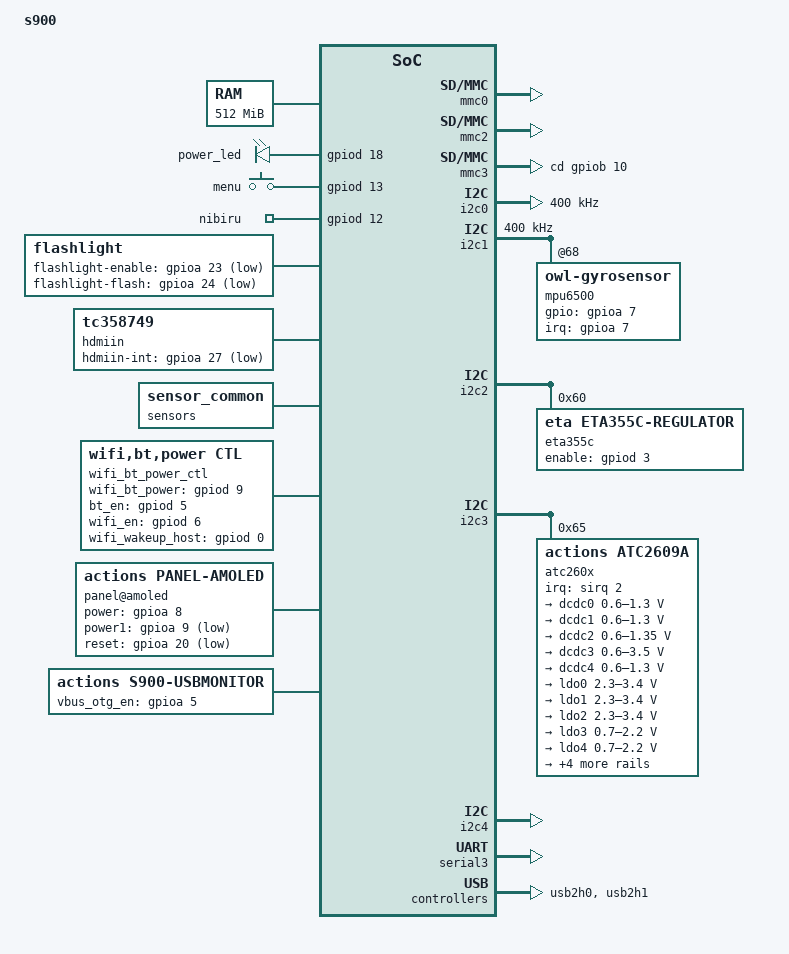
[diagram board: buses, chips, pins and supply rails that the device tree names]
/*
 * Copyright (C) 2014 Actions Semi. Inc
 *
 * This program is free software; you can redistribute it and/or
 * modify it under the terms of the GNU General Public License as
 * published by the Free Software Foundation version 2.
 *
 * This program is distributed "as is" WITHOUT ANY WARRANTY of any
 * kind, whether express or implied; without even the implied warranty
 * of MERCHANTABILITY or FITNESS FOR A PARTICULAR PURPOSE.  See the
 * GNU General Public License for more details.
 */

/dts-v1/;

/* reserve 48MB for logo(fb) */
/memreserve/ 0x19000000 0x03000000;

/* reserve 512MB for ion1(pmem) */
/memreserve/ 0x20000000 0x20000000;

/* reserve 4k for afinfo */
/memreserve/ 0x18FFF000 0x1000;

#include "s900.dtsi"

/ {
	model = "s900";
	compatible = "actions,s900", "actions,s900-evb";

	chosen {
		bootargs="fb_logo_reserve=0x19000000,0x03000000 console=ttyS5,115200 earlyprintk=serial-owl,0xe012a000 no_console_suspend loglevel=4";
	};

	memory@00000000 {
		device_type = "memory";
		reg = <0 0x00000000 0 0x20000000>;
	};

	ion_config {
		compatible = "actions,s900-ion";
		actions,ion_heap_pmem_base = <0x0 0x20000000>;
		actions,ion_heap_pmem_size = <0x0 0x20000000>;
	};

	gpiod: gpiod@e01b0000 {
		pinctrl-names = "default";
		pinctrl-0 = <&pinctrl_gpio_lvds_o>, <&pinctrl_gpio_lvds_e>;
	};

	pinctrl@e01b0000 {
		pinctrl_i2c4: i2c4 {
			i2c4_mfp {
				actions,groups = "mfp3_8";
				actions,function = "i2c4";
			};

			i2c4_pull {
				actions,pins = "P_UART4_RX", "P_UART4_TX";
				actions,pull = <2>;
			};

			i2c4_paddrv {
				actions,groups = "paddrv1_9_8";
				actions,paddrv = <3>;/*level 0~3*/
			};
		};
		
		pinctrl_i2c0_default: i2c0 {
			i2c0_mfp {
				actions,groups = "mfp3_18_16";
				actions,function = "i2c0";
			};

			i2c0_pull {
				actions,pins = "P_I2C0_SCLK", "P_I2C0_SDATA";
				actions,pull = <2>; /*PULL UP*/
			};
			
			i2c0_paddrv {
				actions,groups = "paddrv2_31_30";
				actions,paddrv = <3>;/*level 0~3*/
			};
		};
		pinctrl_i2c1_default: i2c1 {
			i2c1_paddrv {
				actions,groups = "paddrv2_29_28";
				actions,paddrv = <3>;/*level 0~3*/
			};
		};

	};


	mmc0: mmc@e0338000 {
		card-type = "emmc";
		status = "okay";
	};

	mmc1: mmc@e033c000 {
		card-type = "emmc";
		status = "disabled";
	};

	mmc2: mmc@e0334000 {
		card-type = "wifi";
		wifi-card-voltage = "1.8v";  /* only: "1.8v", "3.1v" */
		status = "okay";
	};

	mmc3: mmc@e0330000 {
		card-type = "memory";  /* only: "memory", "wifi", or "emmc" */
		card-detect-mode = "gpio";  /* only: "sirq", "gpio", or "command" */
		cd-gpios = <&gpiob 10 0>; /*GPIOBE14 */
		sd_vcc = "ldo0";
		status = "okay";
	};

	
	i2c0: i2c@e0170000  {
	  clock-frequency = <400000>;
		status = "okay";

	};


	i2c1: i2c@e0172000 {
		clock-frequency = <400000>;
		status = "okay";
		mpu6500@68 {
		compatible = "owl-gyrosensor";
		interrupt-parent = <&gpioa>;
		interrupts = <7>;
		gpios = <&gpioa 7 0>; /* GPIOA7 */
		i2c_adapter_id = <1>;
		/*gyro_vcc = "ldo7";*/
		/*vol_range = <1800000 1810000>;*/
		MASTER_inv6500_position = "-2";
		SECONDARY_ak8963c_position = "-2";
		};
	};

  i2c2: i2c@e0174000 {
		status = "okay";

		eta355c: eta355c-regulator {
			compatible = "eta,eta355c-regulator";
			reg = <0x60>;

			regulator-name = "eta355c";
			regulator-type = "voltage";
			regulator-min-microvolt = <700000>;
			regulator-max-microvolt = <1050000>;
			startup-delay-us = <1000>;	/* us */
			regulator-ramp-delay = <250>;	/* uV/us */
			enable-gpio = <&gpiod 3 0x4>;	/* GPIOD3 */
			enable-active-high;
		  };
	  };


	i2c3: i2c@e0176000 {
		status = "okay";
		/* atc2609a (5303) */
		atc260x: atc2609a@65 {
			compatible = "actions,atc2609a","actions,atc260x";
			reg = <0x65>;
			interrupt-parent = <&sirq>;
			interrupts = <2>;
			interrupt-controller;
			#interrupt-cells = <1>;

			losc_32k_output_enable = <1>;    /* enable/disable output 32.768K clock via AUXIN1 pin */

			pm {
				compatible = "actions,atc2609a-pm";
			};

			onoff {
				compatible = "actions,atc2609a-onoff";
			};

			rtc{
				compatible = "actions,atc2609a-rtc";
			};

			atc260x_gpio{
				compatible = "actions,atc2609a-gpio";
			};
			atc260x-adckeypad{
				#define KEY_UP			103
				#define KEY_DOWN		108
				#define KEY_LEFT		105
				#define KEY_RIGHT		106
				#define KEY_ENTER		28
				#define KEY_BACK		158
				keymapsize = <6>;                   /* number of ADC key */
				filter_dep = <3>;                   /* depth of the moving average filter (length of filter queue) */
				variance = <15>;                    /* filter will not output until the difference between every two ADC samples in the filter queue goes below this value */
				poll_interval =  <20>;              /* sample period, in ms */
				left_adc_val =  <1900 0 400 1250 900 750>;           /* for key code translator, each value defines a lower bound of ADC value of a key */
				right_adc_val = <2100 100 580 1450 1050 850>;          /* for key code translator, each value defines a upper bound of ADC value of a key */
				key_val = <KEY_LEFT KEY_UP KEY_ENTER KEY_DOWN KEY_RIGHT KEY_BACK>; /* for key code translator, each value defines the key_code of a key */
				adc_channel_name = "REMCON";          /* the ADC channel used for sampling, valid names are REMCON AUX0 AUX1 AUX2 (AUX3) */
				compatible = "actions,atc2609a-adckeypad";
			};

			/*the cfg params must be read	in the first installed ko,
			 now snd-soc-atv5302.ko is first installed.
			 1, earphone_detect_level use the third value of earphone_gpios
			 2, commonly, we shouldn't change the value of speaker_gain and earphone_gain*/

			atc260x-audio{
				compatible = "actions,atc2609a-audio";
				status = "okay";
        pinctrl-names = "default";
        pinctrl-0 = <&i2s0_state_default>;
				clocks = <&clock CLK_AUDIO_PLL>, <&clock CLK_HDMI_AUDIO>;
				clock-names = "audio_pll", "hdmia";
				earphone_detect_gpios = <&gpioa 3 0>; /*0: high, 1: low hr280ac GPIOB11 0*/
				speaker_en_gpios = <&gpioa 19 1>; /*hr280ac GPIOA(19) 0: high, 1: low*/
				earphone_output_mode = <1>; /*0: direct mode, 1: undirect mode*/
				mic_num = <1>; /*just suport 1, 2*/
				mic0_gain = < 0x7 0x7 >; /*<Lchannel,Rchannel> [0x0~0xF]*/
				speaker_gain = < 0xaa 0xaa >; /*<Lchannel,Rchannel>[0x00~0xbebe]*/
				earphone_gain = < 0xbe 0xbe >; /*<Lchannel,Rchannel>[0x00~0xbebe]*/
				speaker_volume = < 0x28 0x28 >; /*volume [0x00~0x28]*/
				earphone_volume = < 0x28 0x28 >; /*volume [0x00~0x28]*/
				earphone_detect_mode = <0>;  /*0: polling,   1: interrupt*/
			};

			atc260x-hwmon{
				compatible = "actions,atc2609a-hwmon";
			};

			atc260x-charger{
				compatible = "actions,atc2609a-charger";
				rsense = <20>;/*unit:mohm*/
				bat_type = <1>;/*0:4.18v; 1:4.2v; 2:4.3v; 3:4.35v*/
				bl_on_current_usb_pc = <200>;
				bl_off_current_usb_pc = <400>;
				bl_on_current_usb_adp = <400>;
				bl_off_current_usb_adp = <1200>;
				bl_on_current_wall_adp = <400>;
				bl_off_current_wall_adp = <1400>;
				support_adaptor_type = <2>; /*1: DCIN  2: USB  3:DCIN+USB*/
				ext_charger = <0>;
				usb_adapter_as_ac = <1>;/*0:usb ada keep itself; 1:usb ada used as DCIN when usb plug and batv<3.3v during minicharge*/
				usb_pc_ctl_mode = <1>; /*0:disable vbus ctl;1:current limited;2:voltage limited*/
				wall_switch = <&gpioa 4 0>;/*GPIOA4,0: high, 1: low*/
			};
      atc2609a-battery{
				compatible = "actions,atc2609a-battery";
				ocv_table = <2824 3373 3509 3545 3599 3658 3744 3772 3777 3796 3843 3902 3957 4033 4101 4193>;/*mv*/
				r_table = <304 246 195 193 192 206 177 154 143 144 170 167 150 147 143 141>;/*mohm*/
				design_capacity = <2800>;/*unit:mAh*/
				taper_vol = <4180>;/*unit:mv*/
				taper_cur = <300>;/*unit:ma*/
				term_vol = <3400>;/*unit:mv*/
				ov_protect = <4275>;/*unit:mv*/
				sleep_current = <15000>;/*unit:ua*/
				shutdown_current = <50>;/*unit:ua*/
				boot_cap_threshold = <3>;
				bl_on_vol = <3300>;/*unit:mv*/
				print_switch = <0>;
				log_switch = <0>;
			};

			

			/* DCDC0       VDD_CORE
			 * DCDC1       VDD_CPU
			 * DCDC2       VDDR
			 * DCDC3       VCC
			 * DCDC4       VDD_CPUM
			 */
			dcdc0: dcdc0 {
				compatible = "actions,atc2609a-dcdc0","actions,atc2609a-dcdc";
				regulator-name = "dcdc0";
				regulator-min-microvolt = <600000>;
				regulator-max-microvolt = <1300000>;
				regulator-always-on;
			};

			dcdc1: dcdc1 {
				compatible = "actions,atc2609a-dcdc1","actions,atc2609a-dcdc";
				regulator-name = "dcdc1";
				regulator-min-microvolt = <600000>;
				regulator-max-microvolt = <1300000>;
				regulator-always-on;
			};

			dcdc2: dcdc2 {
				compatible = "actions,atc2609a-dcdc2","actions,atc2609a-dcdc";
				regulator-name = "dcdc2";
				regulator-min-microvolt = <600000>;
				regulator-max-microvolt = <1350000>;
				regulator-always-on;
			};

			dcdc3: dcdc3 {
				compatible = "actions,atc2609a-dcdc3","actions,atc2609a-dcdc";
				regulator-name = "dcdc3";
				regulator-min-microvolt = <600000>;
				regulator-max-microvolt = <3500000>;
				regulator-always-on;
			};

			dcdc4: dcdc4 {
				compatible = "actions,atc2609a-dcdc4","actions,atc2609a-dcdc";
				regulator-name = "dcdc4";
				regulator-min-microvolt = <600000>;
				regulator-max-microvolt = <1300000>;
				regulator-always-on;
			};

 			/* LDO0        SD_VCC     
			 * LDO1        WIFI_3V3  
			 * LDO2        AVCC       
			 * LDO3        ATC2609_VDD   
			 * LDO4        AVCC_1V8   
			 * LDO6        AVDD_1V0   
			 * LDO7        VCC_1V8_IO  
			 * LDO8        UNUSED     
			 * LDO9        RTC_VDD     */

			ldo0: ldo0{
				compatible = "actions,atc2609a-ldo0","actions,atc2609a-ldo";
				regulator-name = "ldo0";
				regulator-min-microvolt  = <2300000>;
				regulator-max-microvolt = <3400000>;
				regulator-always-on;
			};

			ldo1: ldo1{
				compatible = "actions,atc2609a-ldo1","actions,atc2609a-ldo";
				regulator-name = "ldo1";
				regulator-min-microvolt  = <2300000>;
				regulator-max-microvolt = <3400000>;
			};

			ldo2: ldo2{
				compatible = "actions,atc2609a-ldo2","actions,atc2609a-ldo";
				regulator-name = "ldo2";
				regulator-min-microvolt  = <2300000>;
				regulator-max-microvolt = <3400000>;
				regulator-always-on;
			};

			ldo3: ldo3{
				compatible = "actions,atc2609a-ldo3","actions,atc2609a-ldo";
				regulator-name = "ldo3";
				regulator-min-microvolt  = <700000>;
				regulator-max-microvolt = <2200000>;
				regulator-always-on;
			};

			ldo4: ldo4{
				compatible = "actions,atc2609a-ldo4","actions,atc2609a-ldo";
				regulator-name = "ldo4";
				regulator-min-microvolt  = <700000>;
				regulator-max-microvolt = <2200000>;
				regulator-always-on;
			};

			ldo6: ldo6{
				compatible = "actions,atc2609a-ldo6","actions,atc2609a-ldo";
				regulator-name = "ldo6";
				regulator-min-microvolt  = <850000>;
				regulator-max-microvolt = <2200000>;
				regulator-always-on;
			};

			ldo7: ldo7{
				compatible = "actions,atc2609a-ldo7","actions,atc2609a-ldo";
				regulator-name = "ldo7";
				regulator-min-microvolt  = <700000>;
				regulator-max-microvolt = <2200000>;
			};

			ldo8: ldo8{
				compatible = "actions,atc2609a-ldo8","actions,atc2609a-ldo";
				regulator-name = "ldo8";
				regulator-min-microvolt  = <2100000>;
				regulator-max-microvolt = <3300000>;
			};

			ldo9: ldo9{
				compatible = "actions,atc2609a-ldo9","actions,atc2609a-ldo";
				regulator-name = "ldo9";
				regulator-min-microvolt  = <2600000>;
				regulator-max-microvolt = <3300000>;
				regulator-always-on;
			};
		};
	};

	i2c4: i2c@e0178000 {
		pinctrl-names = "default";
		pinctrl-0 = <&pinctrl_i2c4>;
		status = "okay";
		//gslX680@40 {
		//	compatible = "gslX680";
		//	reg = <0x40>;
		//	tp_vcc = "ldo8";
		//	reset_gpios = <&gpiob 14 1>;/*GPIOB(14) 0: high, 1: low*/
		//	x_pixel = <1536>;
		//	y_pixel = <2048>;
		//	x_revert_en = <1>;
		//	y_revert_en = <0>;
		//	xy_swap_en = <0>;
		//	rotate_degree = <0>;     /* 0 90 180 270 */
		//	interrupt-parent = <&sirq>;
		//	interrupts = < 0 0x4 >; /*SIRQ0*/
		//	vol_range = <3100000 3110000>;
		//};
	};
	leds-gpio{
		compatible = "gpio-leds";
		power-on {
			gpios = <&gpiod 18 0>;/*GPIOD(18) 0: high, 1: low*/
			label = "power_led";
			default-state = "on";
			linux,default-trigger = "power-on";
		};
	};

	gpiokeys {
		compatible = "gpio-keys-polled";
		poll-interval = <20>;

		pinctrl-names = "default";
		pinctrl-0 = <&pinctrl_gpio_lvds_e>;

	  menu {
			gpios = <&gpiod 13 0>; /* GPIOD13 */
			keycode = <316>;
			label = "menu";
		};
		nibiru {
			gpios = <&gpiod 12 0>; /* GPIOD12 */
			keycode = <110>;    /*KEY_BUTTON_MODE*/
			label = "nibiru";
		};
	};
	
	
	serial3: uart@e0126000 {
		dmas = <&dma DMA_DRQ_UART3_TX>, <&dma DMA_DRQ_UART3_RX>;
		dma-names = "tx", "rx";
		status = "okay";
	};
	//serial5: uart@e012a000 {
	//	pinctrl-0 = <&serial5_state_default>;
	//	status = "ok";
	//};
	
	

	flashlight {
		compatible = "flashlight";
		flashlight-enable = <&gpioa 23 1>; /* GPIOA0 */
		flashlight-flash  = <&gpioa 24 1>; /* GPIOA1 */
		status = "okay";
	};

	hdmiin {
		compatible = "tc358749";
		hdmiin-int-gpios = <&gpioa 27 1>;
		status = "okay";
	};
	
	isp0: isp@e0270000 {
		mirror_flip = <10>;  /* 1: no flip,horizontal mirror for gc2755; */

		rear-avdd-src = "gpio";  /* only: "gpio", "regulator" */
		rear-avdd-gpios = <&gpiob 9 1>; /* only when vbus-src is "regulator" */
		front-avdd-src = "gpio";  /* only: "gpio", "regulator" */
		front-avdd-gpios = <&gpioa 18 1>; /* only when vbus-src is "regulator" */
		dvdd-src = "regulator";  /* only: "gpio", "regulator" */
		dvdd-regulator = "ldo7";
		dvdd-regulator-scope = <1200000 1210000>;  /* uV */

		board_type = "ces";/* "ces" or "evb"*/
		sensors = "dual"; /* "dual", "front" or "rear" */
		pwdn-rear-gpios = <&gpioa 2 1>; /* GPIOA1 */
		pwdn-front-gpios = <&gpioa 0 1>; /* GPIOE26 */
		rear-reset-gpios = <&gpiob 15 1>; /*GPIOE22*/
		front-reset-gpios = <&gpiob 14 1>; /*GPIOE27*/

		pinctrl-names = "default";
		pinctrl-0 = <&mipi_csi0_state_default>, <&mipi_csi1_state_default>;

		status = "okay"; /* create platform-device */
		rear_mipi_configs = <&configr>;
		front_mipi_configs = <&configf>;

		configr: rear_configs {
			clk_settle_time = <21>;
			clk_term_time = <1>;
			data_settle_time = <21>;
	        	data_term_time = <1>;
			lane0_map = <0>;
	        	lane1_map = <1>;
	        	lane2_map = <2>;
	        	lane3_map = <3>;
		};

		configf: front_configs {
			clk_settle_time = <21>;
			clk_term_time = <1>;
			data_settle_time = <21>;
	        	data_term_time = <1>;
			lane0_map = <0>;
	        	lane1_map = <1>;
	        	lane2_map = <2>;
	        	lane3_map = <3>;
		};
	};

	sensors: isp-sensor {
		compatible = "sensor_common";
		rear_i2c_adapter = <&i2c4>; /* 0-3 begin from enabled ones */
		front_i2c_adapter = <&i2c0>; /* 0-3 begin from enabled ones */

		status = "okay";
	};	

	edp: edp@e02e0000 {
	   status = "disabled";
	};
	
	wifi_bt_power_ctl {
		compatible = "wifi,bt,power,ctl";
		
		wifi_bt_power_gpios = <&gpiod 9 0>; /*  GPIOd9 */
		bt_en_gpios = <&gpiod 5 0>;/*GPIOd2 high active*/  /*M3305 A17 reset pin*/
		wifi_en_gpios = <&gpiod 6 0>; /* GPIOd9*/
		wifi_wakeup_host_gpios = <&gpiod 0 0>; 	/* GPIOD0 */
	};

	de@e02e0000 {
		gamma_adjust_needed = <0>;
	};

	dsi: dsi@e01e0000 {
		compatible = "actions,s900-dsi", "simple-bus";
		reg =	<0 0xe01e0000 0 0x88>,
			<0 0xE0160000 0 0x4>,
			<0 0xE012E014 0 0x4>;
		reg-names = "regs", "cmu_base", "sps_ldo_ctl";
		clocks = <&clock CLK_DSI>;
		clock-names = "dsi";

		resets = <&reset RESET_DSI>;

		pinctrl-names = "default";
		pinctrl-0 = <&dsi_state_default>;

		panel_configs = <&config0>;

		config0: mipi_configs {
			lcd_mode = <1>;		/* 0: command mode 1: video mode */
			lane_count = <4>;	/* 1: 1, 2: 1~2, 3: 1~3, 4: 1~4 */
			lane_polarity = <0>;	/* 0: normal,1: reversed */
			lane_swap = <0x3210>;	/* the sequence of data lanes */
			video_mode = <0>;	/* 0: sync mode, 1: de mode 2: burst mode */
			burst_bllp = <60>;	/* 0 ~ 333, just burst mode needed,
						 * It will affect the frame rate */
			pclk_rate = <174>;	/* 174MHz, HSCLK, divider 3 */
		};

		panel@amoled {
			compatible = "actions,panel-amoled";

			/* panel's fixed info */
			width_mm = <68>;
			height_mm = <121>;
			bpp = <24>;

			is_primary = <1>;
			hotplug_always_on = <0>;
			/* screen init command info */
			mipi_cmd = <0x0EFE1500 0x004B1500 0x094C1500 0x204D1500 0x404E1500 0x604F1500
				0xA0501500 0xC0511500 0xE0521500 0xFF531500 0x0DFE1500 0x01421500
				0x08181500 0x41081500 0x02461500 0x09721500 0x16031500 0x29041500
				0x0AFE1500 0x17241500 0x07041500 0x0C1A1500 0x340F1500 0x04FE1500
				0x0C001500 0x06051500 0x06061500 0x780A1500 0x880B1500 0x111A1500
				0x93291500 0x932A1500 0x022F1500 0x02311500 0x05331500 0x2D371500
				0x2D381500 0x1E3A1500 0x1E3B1500 0x273D1500 0x803F1500 0x40401500
				0xE0411500 0x2F4F1500 0x1E501500 0x2A681500 0x06FE1500 0x04051500
				0xA2071500 0x020D1500 0xA20F1500 0x04371500 0x83391500 0x03411500
				0x83431500 0x04491500 0xA24B1500 0x02511500 0xA2531500 0x027A1500
				0x837C1500 0x01821500 0x83841500 0xEC851500 0x0F861500 0xFF871500
				0x00881500 0x018A1500 0xA28C1500 0x06FE1500 0xCC001500 0x05051500
				0x8C071500 0xCC081500 0x030D1500 0x8C0F1500 0xCC321500 0x05371500
				0x83391500 0xCC3A1500 0x04411500 0x83431500 0xCC441500 0x05491500
				0x8C4B1500 0xCC4C1500 0x03511500 0x8C531500 0xCC751500 0x037A1500
				0x837C1500 0xCC7D1500 0x02821500 0x83841500 0xEC851500 0x0F861500
				0xFF871500 0x00881500 0x028A1500 0x8C8C1500 0xAA8D1500 0x018E1500
				0xE88F1500 0x0A901500 0x06921500 0x8A931500 0x92941500 0xEC951500
				0x0F961500 0xFF971500 0x00981500 0x029A1500 0x8C9C1500 0x04AC1500
				0x06FE1500 0x12B11500 0x17B21500 0x17B31500 0x17B41500 0x17B51500
				0x11B61500 0x08B71500 0x09B81500 0x06B91500 0x07BA1500 0x17BB1500
				0x17BC1500 0x17BD1500 0x17BE1500 0x17BF1500 0x17C01500 0x17C11500
				0x17C21500 0x17C31500 0x0FC41500 0x0EC51500 0x00C61500 0x01C71500
				0x10C81500 0x00FE1500 0x03C21500>;
			/* mipi backlight values*/
			backlight_is_oled = <0>;
			brightness = <108>;
			max_brightness = <128>;
			min_brightness = <88>;

			/* operation delay in ms */
			power_on_delay = <10>;
			power_off_delay = <0>;
			enable_delay = <10>;
			disable_delay = <0>;
			vsync_off_us=<15000>;

			/*
			 * property val of the display effects of panel.
			 * range is 0~100.
			 */
			gamma_r_val = <100>;
			gamma_g_val = <100>;
			gamma_b_val = <90>;

			power-gpio = <&gpioa 8 0>;
			power1-gpio = <&gpioa 9 1>;
			reset-gpio = <&gpioa 20 1>;

			videomode-0 = <&mode0>;

			mode0: videomode {
				refresh_rate = <60>;

				xres = <1080>;
				yres = <1920>;

				/* in pico second, 0.000 000 000 001s */
				pixel_clock = <5780>;

				hsw = <4>;
				hbp = <140>;
				/*if the burst mode transmission, hfp need to includ burst_bllp*/
				hfp =<40>;

				vsw = <4>;
				vbp =<12>;
				/* vfp can be as small as possible,
				 * it related to preline time */
				vfp = <20>;

				/* 0: FB_VMODE_NONINTERLACED, 1:FB_VMODE_INTERLACED */
				vmode = <0>;
			};
		};
	};
 

	monitor {
		compatible = "actions,s900-usbmonitor";
		detect_type = <3>; /* config what to detect, 0:DISABLE ; 1:DEVICE_ONLY; 2:HOST_ONLY; 3: HOST_AND_DEVICE*/
		idpin_type   = <0>; /* 0:use ic's idpin;      1:soft idpin,##no support!##;       2:gpio idpin,use gpio to detect,need to add a "idpin_gpio" configuration */
		vbus_type   = <2>; /* 0:use ic's vbuspin; 1:gpio vbus,##no support!## ;      2:use dc5v to detect vbus level*/

		/*vbus_otg_en_gpio is use to turn on/off otg vbus,it's different from vbus detect gpio;*/
		vbus_otg_en_gpios = <&gpioa 5 0>;  /* GPIOD1,  1: low active; 0: high active */
		status = "okay";
	};


	owl_usb_config {
		compatible = "actions,owl-usb-config";
		usb_serialnumber_config = <1>; /* config serialnumber string format, 0: fixed serial no in ascii format; 1: fixed serial no in unicode format; 2:non-fixed serial no in unicode format*/
		usb_hs_output_strength = <3>; /*defaut:3,range:0~7; 0:min,7:max;usb high speed(2.0)transmitter output strength*/
		status = "okay";
	};

 	usb2h0: usb@e02b0000 {
		/*vbus_otg_en_gpio = <&gpiod 9 1>; *//*GPIO D19*/
		port_host_plug_detect = <1>;
		status = "okay";
	};

	usb2h1: usb@e02c0000 {
		vbus_otg_en_gpio =<&gpioa 6 0>; /*note:delete GPIO D18 because usb3.0 use the same GPIO with usb2h1*/
		port_host_plug_detect = <1>; /*0:disable 1:enable and vbus contrl 2:only detect*/
		//aotg_wake_lock = <1>; /*keep wake_lock,prevent suspend*/
		status = "okay";
	};


	gpu@e0600000 {
		gpu-supply = <&eta355c>;

		operating-points = <200000  825000
		                    264000  850000
							352000  875000
							440000  925000
		                    528000  950000
		                    600000  1000000>;

		default_max_level = <3>;
		default_min_level = <0>;
	};

	pcm-audio{
		compatible = "actions,pcm-audio";
		status = "okay";
		pinctrl-names = "default";
		pinctrl-0 = <&pcm1_state_default>;
	};
};
